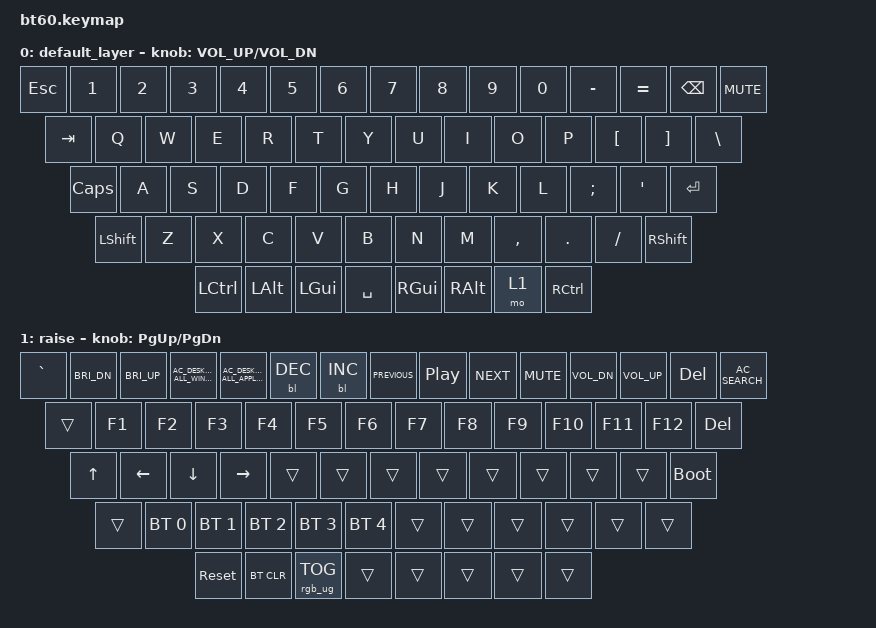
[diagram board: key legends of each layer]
#include <behaviors.dtsi>
#include <dt-bindings/zmk/keys.h>
#include <dt-bindings/zmk/bt.h>
#include <dt-bindings/zmk/rgb.h>
#include <dt-bindings/zmk/backlight.h>

/ {
	keymap {
		compatible = "zmk,keymap";

		default_layer {
				// ------------------------------------------------------------------------------------------
				// |  `  |  1  |  2  |  3  |  4  |  5  |  6  |  7  |  8  |  9  |  0  |  -  |  =  |   BKSP | MUTE
				// | TAB  |  Q  |  W  |  E  |  R  |  T  |  Y  |  U  |  I  |  O  |  P  |  [  |  ]  |   |
				// | CAPS  |  A  |  S  |  D  |  F  |  G  |  H  |  J  |  K  |  L  |  ;  |  '  |     ENTER
				// |  SHIFT    |  Z  |  X  |  C  |  V  |  B  |  N  |  M  |  ,  |  .  | /   |      SHIFT
				// |  CTL  |  ALT  |  GUI  |            SPACE               | GUI | ALT    |  1    |  CTRL
				// ------------------------------------------------------------------------------------------
			bindings = <

				&kp ESC &kp N1 &kp N2 &kp N3 &kp N4 &kp N5 &kp N6 &kp N7 &kp  N8   &kp  N9 &kp  N0  &kp MINUS &kp EQUAL &kp BSPC &kp K_MUTE
				&kp TAB  &kp Q  &kp W  &kp E  &kp R  &kp T  &kp Y  &kp U  &kp  I    &kp  O  &kp  P   &kp LBKT &kp RBKT   &kp BSLH
				&kp CAPS  &kp A  &kp S  &kp D  &kp F  &kp G  &kp H  &kp J  &kp  K    &kp  L  &kp SEMI &kp SQT            &kp RET
				&kp LSHFT  &kp Z  &kp X  &kp C  &kp V  &kp B  &kp N  &kp M  &kp COMMA &kp DOT &kp FSLH                   &kp RSHFT
				&kp LCTRL &kp LALT &kp LGUI            &kp SPACE                          &kp RGUI  &kp RALT &mo 1    &kp RCTRL
			>;
			sensor-bindings = <&inc_dec_kp C_VOL_UP C_VOL_DN>;
		};
		raise {
			bindings = <
				&kp GRAVE &kp C_BRI_DN &kp C_BRI_UP &kp C_AC_DESKTOP_SHOW_ALL_WINDOWS &kp C_AC_DESKTOP_SHOW_ALL_APPLICATIONS &bl BL_DEC &bl BL_INC &kp C_PREVIOUS &kp C_PLAY_PAUSE &kp C_NEXT &kp K_MUTE &kp C_VOL_DN &kp C_VOL_UP &kp DEL &kp C_AC_SEARCH
				&trans &kp F1 &kp F2 &kp F3 &kp F4 &kp F5 &kp F6 &kp F7 &kp F8 &kp F9 &kp F10 &kp F11 &kp F12 &kp DEL
				&kp UP &kp LEFT &kp DOWN &kp RIGHT &trans &trans &trans &trans &trans &trans &trans  &trans   &bootloader
				&trans &bt BT_SEL 0 &bt BT_SEL 1 &bt BT_SEL 2 &bt BT_SEL 3 &bt BT_SEL 4 &trans &trans &trans &trans &trans &trans
				&sys_reset &bt BT_CLR &rgb_ug RGB_TOG              &trans                            &trans   &trans   &trans &trans
			>;
			sensor-bindings = <&inc_dec_kp PG_UP PG_DN>;
		};
	};
};
